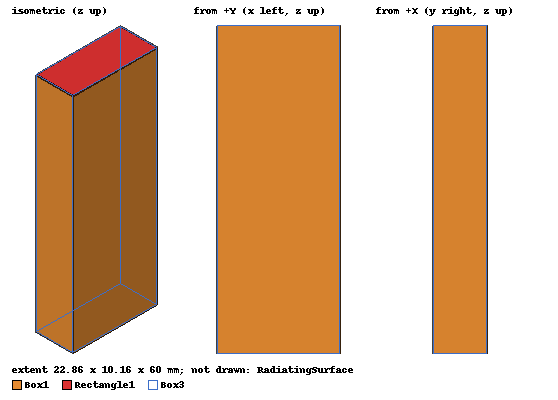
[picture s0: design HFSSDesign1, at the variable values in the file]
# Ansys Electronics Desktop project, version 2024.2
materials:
  vacuum: permittivity=1
  air: permittivity=1.0006 permeability=1.0000004
  copper: permeability=0.999991 conductivity=58000000

design HFSSDesign1 (HFSS, HFSS Terminal Network, model units mm)
options: Allow_Material_Override
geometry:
  Box1 [copper] = box(corner=(-11.43mm, -5.08mm, 0mm), size=(22.86mm, 10.16mm, 60mm))
  Box2 = box(corner=((-11.43 + 0.2) mm, (-5.08 + 0.2) mm, 0mm), size=(22.46mm, (10.16 - 0.4) mm, 60mm))
  Box3 [air] = box(corner=((-11.43 + 0.2) mm, (-5.08 + 0.2) mm, 0mm), size=(22.46mm, (10.16 - 0.4) mm, 60mm))
  Box1.subtract(Box2)
  Rectangle1 = rectangle(corner=(-11.23mm, 4.88mm, 60mm), x_size=22.46mm, y_size=-9.76mm)
  Rectangle2 = rectangle(corner=(11.23mm, 4.88mm, 0mm), x_size=-22.46mm, y_size=-9.76mm)
  RadiatingSurface [vacuum] = region(absolute_offset: +X=10mm, -X=10mm, +Y=10mm, -Y=10mm, +Z=0mm, -Z=0mm)
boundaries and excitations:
  Open1: Radiation Objects=RadiatingSurface
  1: Wave Port Objects=Rectangle1 WavePortType=Modal NumModes=4 Modes{Mode1{IntLine{(0, -4.88, 60) -> (0, 4.88, 60)} CharImp=Zpi} Mode2{CharImp=Zpi} Mode3{CharImp=Zpi} Mode4{CharImp=Zpi}}
  2: Wave Port Objects=Rectangle2 WavePortType=Modal NumModes=4 Modes{Mode1{IntLine{(0, -4.88, 0) -> (0, 4.88, 0)} CharImp=Zpi} Mode2{CharImp=Zpi} Mode3{CharImp=Zpi} Mode4{CharImp=Zpi}}
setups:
  Setup1: HfssDriven Frequency=10GHz MaxDeltaS=0.02 MaximumPasses=6 MinimumPasses=1 MinimumConvergedPasses=1 PercentRefinement=30 BasisOrder=1 PortAccuracy=2 DrivenSolverType="Direct Solver"
    sweep Sweep: 5GHz to 17GHz step 0.1GHz; Type=Discrete
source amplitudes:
  1:1: 1V 0deg
  1:2, 1:3, 1:4, 2:1..2:4: 0V 0deg
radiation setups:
  3D: Infinite Sphere Theta=0deg..180deg step 2deg Phi=-180deg..180deg step 2deg
  Elevation: Infinite Sphere Theta=-180deg..180deg step 1deg Phi=0deg..90deg step 90deg
  Azimuth: Infinite Sphere Theta=90deg..90deg step 0deg Phi=-180deg..180deg step 1deg
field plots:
  Mag_E1: E Field in Box3 on Setup1 : LastAdaptive at Freq=10GHz Phase=0deg
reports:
  S Parameter Plot 1: dB(S(1:4,1:1)) vs Freq on Setup1 : Sweep
